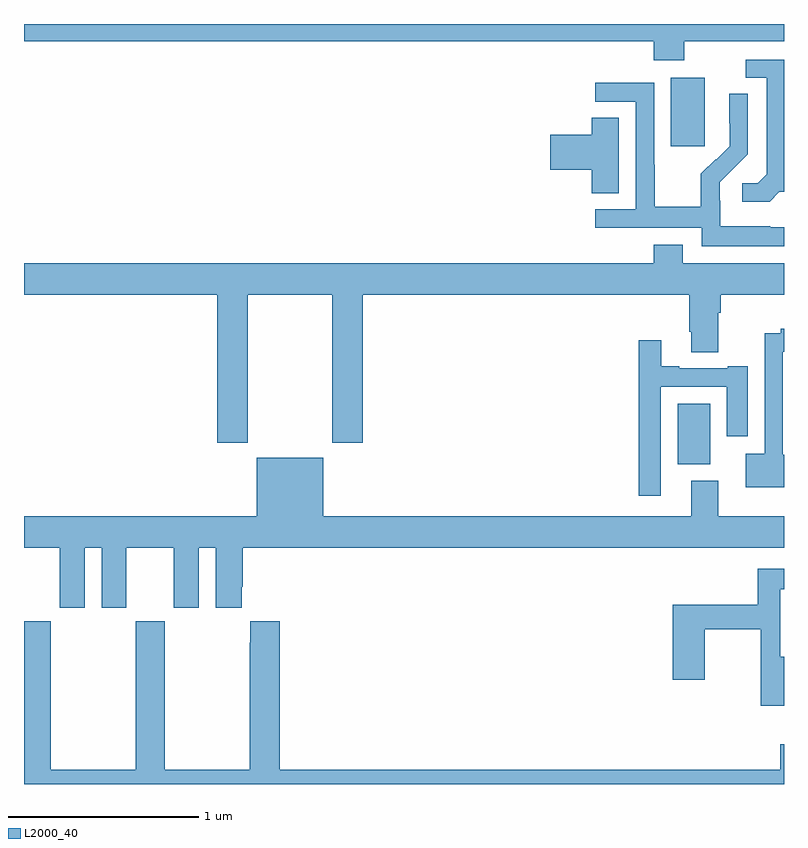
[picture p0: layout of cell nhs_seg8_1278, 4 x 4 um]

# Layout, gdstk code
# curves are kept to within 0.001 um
import gdstk
lib = gdstk.Library(unit=1e-6, precision=1e-09)
def R(c, l, rs):  # rectangles x0, y0, x1, y1
    for r in rs: c.add(gdstk.rectangle(r[:2], r[2:], *l))
def P(c, l, *ps):  # polygons
    for p in ps: c.add(gdstk.Polygon(p, *l))
L2000_40 = (2000, 40)

nhs_seg8_1278 = lib.new_cell('nhs_seg8_1278')
R(nhs_seg8_1278, L2000_40, [(194.441,1139.582,194.611,1139.902), (194.405,1141.257,194.584,1141.618)])
P(nhs_seg8_1278, L2000_40, [(194.475,1141.808),(195,1141.808),(195,1141.9),(191,1141.9),(191,1141.808),(194.315,1141.808),(194.315,1141.709),(194.475,1141.709)],
  [(194.976,1141.017),(195,1141.017),(195,1141.713),(194.799,1141.713),(194.799,1141.617),(194.909,1141.617),(194.909,1141.109),(194.862,1141.062),(194.781,1141.062),(194.781,1140.965),(194.924,1140.965)],
  [(195,1140.831),(194.927,1140.831),(194.927,1140.835),(194.664,1140.835),(194.664,1140.969),(194.662,1140.969),(194.662,1141.066),(194.808,1141.214),(194.808,1141.532),(194.712,1141.532),(194.712,1141.378),(194.714,1141.378),(194.714,1141.256),(194.643,1141.185),(194.64,1141.188),(194.563,1141.111),(194.563,1140.937),(194.319,1140.937),(194.319,1141.16),(194.316,1141.16),(194.316,1141.59),(194.007,1141.59),(194.007,1141.491),(194.22,1141.491),(194.22,1140.924),(194.007,1140.924),(194.007,1140.828),(194.568,1140.828),(194.568,1140.731),(195,1140.731)],
  [(194.131,1141.406),(193.988,1141.406),(193.988,1141.316),(193.77,1141.316),(193.77,1141.133),(193.988,1141.133),(193.988,1141.009),(194.131,1141.009)],
  [(192.177,1140.476),(192.622,1140.476),(192.622,1139.697),(192.782,1139.697),(192.782,1140.476),(194.501,1140.476),(194.501,1140.28),(194.513,1140.28),(194.513,1140.172),(194.653,1140.172),(194.653,1140.38),(194.666,1140.38),(194.666,1140.476),(195,1140.476),(195,1140.64),(194.467,1140.64),(194.467,1140.739),(194.315,1140.739),(194.315,1140.64),(191,1140.64),(191,1140.476),(192.017,1140.476),(192.017,1139.697),(192.177,1139.697)],
  [(195,1139.634),(194.994,1139.634),(194.994,1140.174),(195,1140.174),(195,1140.295),(194.982,1140.295),(194.982,1140.272),(194.898,1140.272),(194.898,1139.638),(194.798,1139.638),(194.798,1139.462),(195,1139.462)],
  [(194.352,1139.991),(194.699,1139.991),(194.699,1139.73),(194.809,1139.73),(194.809,1140.1),(194.705,1140.1),(194.705,1140.087),(194.449,1140.087),(194.449,1140.1),(194.353,1140.1),(194.353,1140.235),(194.236,1140.235),(194.236,1139.418),(194.352,1139.418)],
  [(191.32,1139.144),(191.408,1139.144),(191.408,1138.827),(191.539,1138.827),(191.539,1139.144),(191.789,1139.144),(191.789,1138.827),(191.92,1138.827),(191.92,1139.144),(192.008,1139.144),(192.008,1138.827),(192.145,1138.827),(192.145,1138.939),(192.152,1138.939),(192.152,1139.144),(195,1139.144),(195,1139.308),(194.653,1139.308),(194.653,1139.497),(194.513,1139.497),(194.513,1139.308),(192.574,1139.308),(192.574,1139.617),(192.224,1139.617),(192.224,1139.308),(191,1139.308),(191,1139.144),(191.189,1139.144),(191.189,1138.827),(191.32,1138.827)],
  [(195,1138.57),(194.981,1138.57),(194.981,1138.926),(195,1138.926),(195,1139.034),(194.863,1139.034),(194.863,1138.843),(194.414,1138.843),(194.414,1138.449),(194.584,1138.449),(194.584,1138.714),(194.878,1138.714),(194.878,1138.313),(195,1138.313)],
  [(195,1138.108),(194.981,1138.108),(194.981,1137.976),(192.347,1137.976),(192.347,1138.756),(192.191,1138.756),(192.191,1138.643),(192.187,1138.643),(192.187,1137.976),(191.742,1137.976),(191.742,1138.756),(191.587,1138.756),(191.587,1137.976),(191.142,1137.976),(191.142,1138.756),(191,1138.756),(191,1137.9),(195,1137.9)])

lib.write_gds('nhs_seg8_1278.gds')
